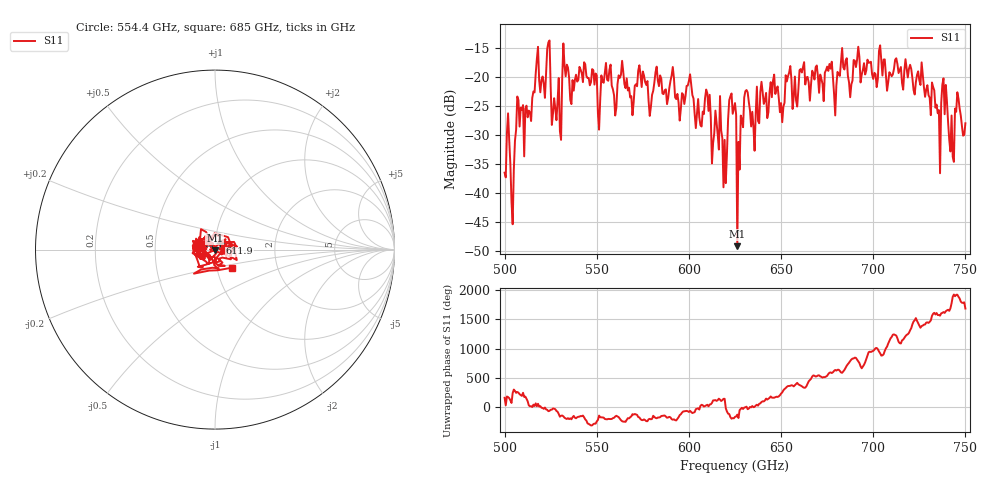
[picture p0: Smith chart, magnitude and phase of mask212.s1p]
!Created with skrf (http://scikit-rf.org).
# GHz S MA R 50.0
!freq magS11 angS11
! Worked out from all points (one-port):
!   401 points, 500 GHz to 750 GHz, reference 50 ohm
!   lowest |S11| = -49.2 dB at 626.2 GHz (marker M1), VSWR 1.01, Z = 49.8 - j0.289 ohm
!   |S11| at or under -10 dB: start of sweep to end of sweep
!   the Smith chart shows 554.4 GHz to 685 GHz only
!   S11 on the Smith chart (normalised r, x): 554.4 GHz: 0.81, +0.05; 611.9 GHz: 1.05, +0.07; 685 GHz: 1.18, -0.24
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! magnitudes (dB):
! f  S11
! 500 GHz  -36.5
! 504.4 GHz  -45.4
! 507.5 GHz  -24.0
! 517.5 GHz  -16.9
! 523.8 GHz  -14.0
! 526.9 GHz  -23.7
! 531.2 GHz  -20.3
! 533.1 GHz  -19.9
! 554.4 GHz  -19.4
! 562.5 GHz  -20.1
! 593.8 GHz  -22.9
! 600 GHz  -20.7
! 611.9 GHz  -27.0
! 619.4 GHz  -30.8
! 623.1 GHz  -22.8
! 625 GHz  -24.5
! 626.2 GHz  -49.2
! 631.2 GHz  -22.2
! 635 GHz  -28.5
! 656.2 GHz  -25.5
! 685 GHz  -17.2
! 687.5 GHz  -23.5
! 718.8 GHz  -20.1
! 735 GHz  -26.3
! 738.8 GHz  -26.4
! 742.5 GHz  -26.6
! 745.6 GHz  -22.6
! 750 GHz  -28.0
